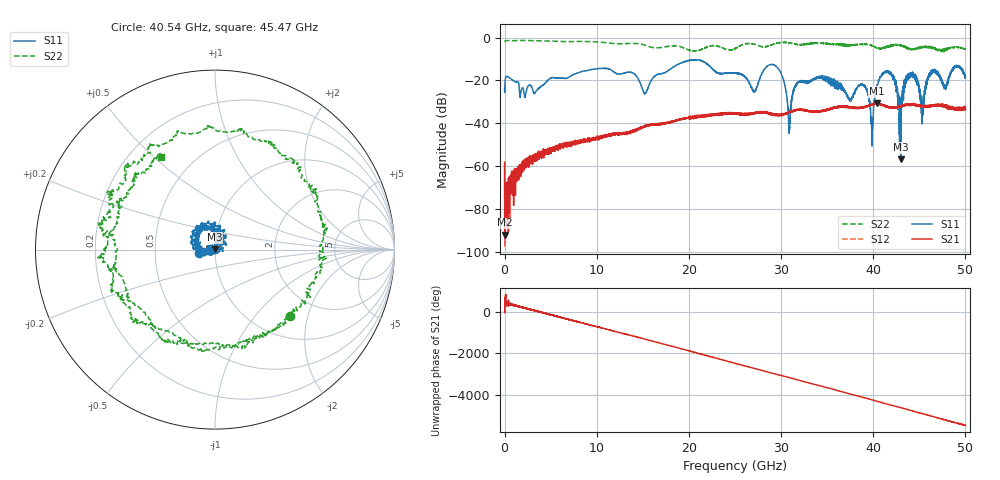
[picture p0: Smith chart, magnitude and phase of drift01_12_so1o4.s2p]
!Created with skrf (http://scikit-rf.org).
# Hz S RI R 50.0
!freq ReS11 ImS11 ReS21 ImS21 ReS12 ImS12 ReS22 ImS22
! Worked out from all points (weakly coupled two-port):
!   10001 points, 300 kHz to 50 GHz, reference 50 ohm
!   highest |S21| = -30.59 dB at 40.4 GHz (marker M1); lowest = -91.8 dB at 70.3 MHz (marker M2)
!   lowest |S11| = -56.8 dB at 42.98 GHz (marker M3), VSWR 1.00, Z = 49.9 + j0.069 ohm
!   |S11| at or under -10 dB: start of sweep to end of sweep
!   |S22| runs from -6.6 to -1.4 dB; largest |S21 - S12| = 0.004
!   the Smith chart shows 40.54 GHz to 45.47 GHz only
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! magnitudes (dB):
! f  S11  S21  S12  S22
! 300 kHz  -23.7  -58.6  -57.6  -2.1
! 70.3 MHz  -19.6  -91.8  -73.5  -1.5
! 8.335 GHz  -15.9  -47.7  -48.4  -1.8
! 13.78 GHz  -16.2  -44.1  -43.8  -2.7
! 15.23 GHz  -26.1  -41.1  -41.2  -3.6
! 16.67 GHz  -17.1  -40.3  -40.4  -4.8
! 25 GHz  -16.6  -35.5  -35.5  -5.1
! 27.11 GHz  -25.2  -35.2  -35.1  -3.2
! 29.41 GHz  -13.2  -36.1  -36.1  -2.7
! 30.9 GHz  -42.4  -34.8  -34.8  -2.5
! 31.66 GHz  -21.7  -33.7  -33.9  -3.1
! 33.34 GHz  -19.8  -34.4  -34.6  -2.6
! 37.51 GHz  -29.2  -32.4  -32.4  -3.6
! 38.92 GHz  -22.3  -32.5  -32.8  -3.0
! 39.84 GHz  -42.8  -31.2  -31.1  -3.8
! 40.4 GHz  -22.6  -30.6  -30.9  -4.8
! 41.67 GHz  -16.1  -32.4  -32.5  -4.4
! 42.98 GHz  -56.8  -31.9  -32.0  -3.8
! 44.07 GHz  -17.7  -31.1  -31.1  -5.2
! 45.31 GHz  -34.9  -31.9  -31.7  -4.4
! 46.42 GHz  -15.5  -32.0  -31.9  -4.6
! 50 GHz  -18.3  -33.5  -32.4  -5.4
